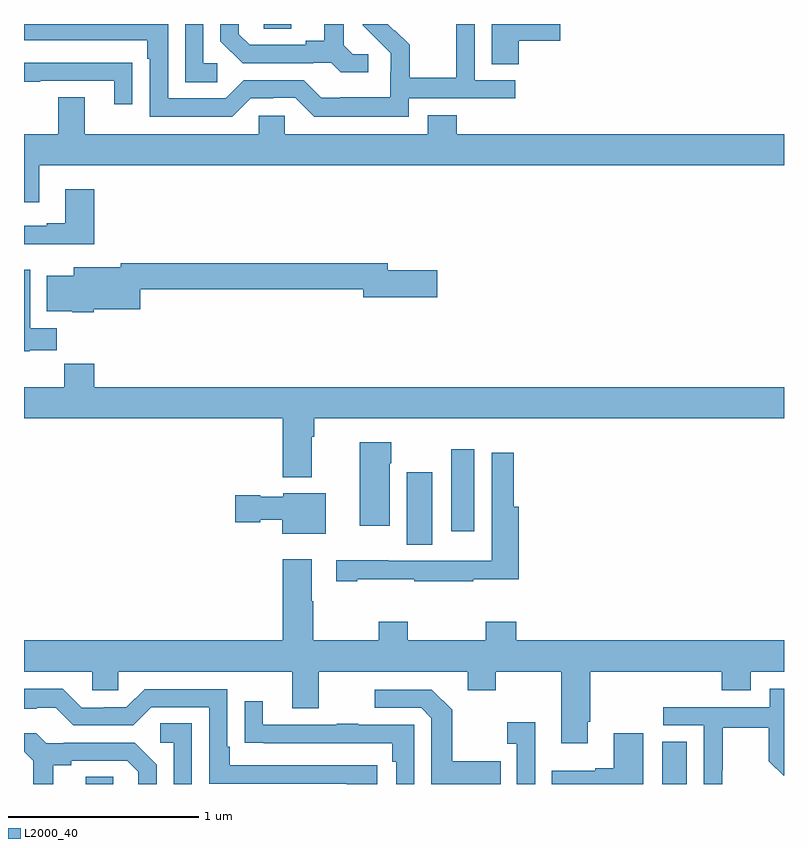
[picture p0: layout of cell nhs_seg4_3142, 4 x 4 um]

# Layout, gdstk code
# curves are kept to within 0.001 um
import gdstk
lib = gdstk.Library(unit=1e-6, precision=1e-09)
def R(c, l, rs):  # rectangles x0, y0, x1, y1
    for r in rs: c.add(gdstk.rectangle(r[:2], r[2:], *l))
def P(c, l, *ps):  # polygons
    for p in ps: c.add(gdstk.Polygon(p, *l))
L2000_40 = (2000, 40)

nhs_seg4_3142 = lib.new_cell('nhs_seg4_3142')
R(nhs_seg4_3142, L2000_40, [(277.325,790.9,277.47,790.937), (280.358,790.9,280.489,791.123), (279.014,792.16,279.148,792.541), (279.248,792.231,279.37,792.661), (278.262,794.875,278.407,794.9)])
P(nhs_seg4_3142, L2000_40, [(279.024,794.508),(279.586,794.508),(279.586,794.604),(279.372,794.604),(279.372,794.9),(279.276,794.9),(279.276,794.84),(279.274,794.84),(279.274,794.617),(279.029,794.617),(279.029,794.791),(278.952,794.868),(278.949,794.865),(278.914,794.9),(278.784,794.9),(278.784,794.894),(278.93,794.746),(278.93,794.649),(278.928,794.649),(278.928,794.515),(278.665,794.515),(278.665,794.511),(278.565,794.511),(278.472,794.604),(278.157,794.604),(278.061,794.508),(277.758,794.508),(277.758,794.9),(277,794.9),(277,794.814),(277.649,794.814),(277.649,794.717),(277.662,794.717),(277.662,794.412),(278.097,794.412),(278.193,794.508),(278.312,794.508),(278.312,794.511),(278.427,794.511),(278.527,794.411),(279.024,794.411)],
  [(279.605,794.813),(279.823,794.813),(279.823,794.9),(279.461,794.9),(279.461,794.689),(279.605,794.689)],
  [(278.812,794.742),(278.73,794.742),(278.683,794.789),(278.683,794.9),(278.579,794.9),(278.579,794.813),(278.483,794.813),(278.483,794.79),(278.188,794.79),(278.131,794.847),(278.131,794.9),(278.034,794.9),(278.034,794.81),(278.15,794.694),(278.522,794.694),(278.522,794.697),(278.616,794.697),(278.668,794.645),(278.812,794.645)],
  [(278.017,794.694),(277.944,794.694),(277.944,794.9),(277.848,794.9),(277.848,794.593),(278.017,794.593)],
  [(277.571,794.696),(277.469,794.696),(277.469,794.697),(277,794.697),(277,794.596),(277.085,794.596),(277.085,794.601),(277.475,794.601),(277.475,794.478),(277.571,794.478)],
  [(277.081,794.156),(281,794.156),(281,794.32),(279.278,794.32),(279.278,794.419),(279.125,794.419),(279.125,794.32),(278.373,794.32),(278.373,794.418),(278.235,794.418),(278.235,794.32),(277.321,794.32),(277.321,794.515),(277.181,794.515),(277.181,794.32),(277,794.32),(277,793.962),(277.081,793.962)],
  [(277.37,794.029),(277.217,794.029),(277.217,793.852),(277.121,793.852),(277.121,793.839),(277,793.839),(277,793.742),(277.37,793.742)],
  [(277.368,793.4),(277.612,793.4),(277.612,793.504),(278.786,793.504),(278.786,793.462),(279.175,793.462),(279.175,793.604),(278.914,793.604),(278.914,793.64),(277.508,793.64),(277.508,793.621),(277.262,793.621),(277.262,793.576),(277.121,793.576),(277.121,793.388),(277.254,793.388),(277.254,793.382),(277.368,793.382)],
  [(277.029,793.182),(277.172,793.182),(277.172,793.3),(277.033,793.3),(277.033,793.606),(277,793.606),(277,793.178),(277.029,793.178)],
  [(278.515,792.728),(278.528,792.728),(278.528,792.824),(281,792.824),(281,792.988),(277.37,792.988),(277.37,793.112),(277.213,793.112),(277.213,792.988),(277,792.988),(277,792.824),(278.363,792.824),(278.363,792.515),(278.515,792.515)],
  [(278.926,792.587),(278.934,792.587),(278.934,792.7),(278.768,792.7),(278.768,792.258),(278.926,792.258)],
  [(278.755,791.977),(279.055,791.977),(279.055,791.967),(279.365,791.967),(279.365,791.977),(279.605,791.977),(279.605,792.358),(279.578,792.358),(279.578,792.643),(279.462,792.643),(279.462,792.076),(279.252,792.076),(279.252,792.075),(278.918,792.075),(278.918,792.077),(278.643,792.077),(278.643,791.967),(278.755,791.967)],
  [(278.587,792.43),(278.364,792.43),(278.364,792.412),(278.244,792.412),(278.244,792.42),(278.112,792.42),(278.112,792.278),(278.244,792.278),(278.244,792.29),(278.36,792.29),(278.36,792.218),(278.587,792.218)],
  [(279.967,791.227),(279.98,791.227),(279.98,791.492),(280.673,791.492),(280.673,791.393),(280.825,791.393),(280.825,791.492),(281,791.492),(281,791.656),(279.59,791.656),(279.59,791.755),(279.43,791.755),(279.43,791.656),(279.021,791.656),(279.021,791.755),(278.866,791.755),(278.866,791.656),(278.523,791.656),(278.523,791.861),(278.515,791.861),(278.515,792.082),(278.363,792.082),(278.363,791.656),(277,791.656),(277,791.492),(277.359,791.492),(277.359,791.394),(277.497,791.394),(277.497,791.492),(278.411,791.492),(278.411,791.298),(278.551,791.298),(278.551,791.492),(279.335,791.492),(279.335,791.393),(279.483,791.393),(279.483,791.492),(279.827,791.492),(279.827,791.115),(279.967,791.115)],
  [(280.674,790.972),(280.677,790.972),(280.677,791.196),(280.921,791.196),(280.921,791.021),(280.998,790.944),(281,790.946),(281,791.401),(280.926,791.401),(280.926,791.304),(280.365,791.304),(280.365,791.208),(280.578,791.208),(280.578,790.9),(280.674,790.9)],
  [(278.86,790.998),(278.083,790.998),(278.083,791.095),(278.07,791.095),(278.07,791.4),(277.635,791.4),(277.539,791.304),(277.421,791.304),(277.421,791.301),(277.305,791.301),(277.205,791.401),(277,791.401),(277,791.297),(277.067,791.297),(277.067,791.301),(277.167,791.301),(277.26,791.208),(277.575,791.208),(277.671,791.304),(277.974,791.304),(277.974,790.902),(278.699,790.902),(278.699,790.9),(278.86,790.9)],
  [(279.509,791.019),(279.253,791.019),(279.253,791.291),(279.147,791.397),(278.847,791.397),(278.847,791.301),(279.09,791.301),(279.144,791.247),(279.144,790.9),(279.509,790.9)],
  [(279.054,791.211),(278.759,791.211),(278.759,791.216),(278.647,791.216),(278.647,791.211),(278.257,791.211),(278.257,791.335),(278.161,791.335),(278.161,791.116),(278.263,791.116),(278.263,791.115),(278.938,791.115),(278.938,791.018),(278.958,791.018),(278.958,790.9),(279.054,790.9)],
  [(279.69,791.224),(279.543,791.224),(279.543,791.111),(279.594,791.111),(279.594,790.9),(279.69,790.9)],
  [(277.884,791.219),(277.716,791.219),(277.716,791.118),(277.788,791.118),(277.788,790.9),(277.884,790.9)],
  [(277.153,791),(277.249,791),(277.249,791.022),(277.544,791.022),(277.601,790.965),(277.601,790.9),(277.698,790.9),(277.698,791.002),(277.582,791.118),(277.21,791.118),(277.21,791.115),(277.116,791.115),(277.064,791.167),(277,791.167),(277,791.07),(277.002,791.07),(277.049,791.023),(277.049,790.9),(277.153,790.9)],
  [(280.258,791.167),(280.103,791.167),(280.103,790.982),(280.007,790.982),(280.007,790.969),(279.777,790.969),(279.777,790.9),(280.258,790.9)])

lib.write_gds('nhs_seg4_3142.gds')
